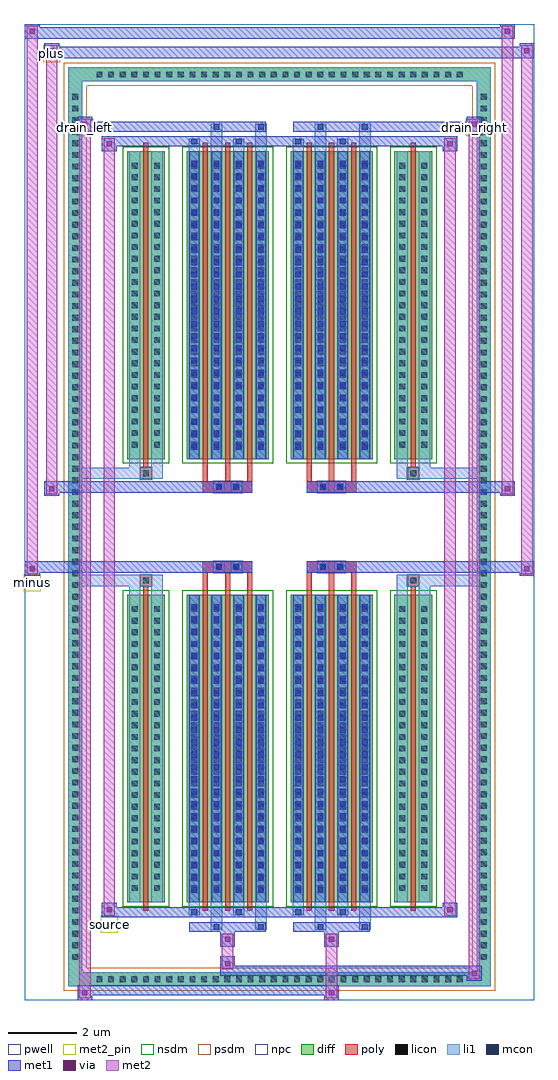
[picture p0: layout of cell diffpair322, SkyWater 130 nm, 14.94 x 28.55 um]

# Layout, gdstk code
import gdstk
lib = gdstk.Library(unit=1e-6, precision=5e-09)
def R(c, l, rs):  # rectangles x0, y0, x1, y1
    for r in rs: c.add(gdstk.rectangle(r[:2], r[2:], *l))
def A(c, l, x, y, w, h, nx, ny, dx, dy):  # array of equal rectangles
    R(c, l, [(x+i*dx, y+j*dy, x+i*dx+w, y+j*dy+h) for i in range(nx) for j in range(ny)])
def P(c, l, *ps):  # polygons
    for p in ps: c.add(gdstk.Polygon(p, *l))
pwell = (64, 44)
diff = (65, 20)
poly = (66, 20)
licon = (66, 44)
li1 = (67, 20)
mcon = (67, 44)
met1 = (68, 20)
via = (68, 44)
met2_pin = (69, 16)
met2 = (69, 20)
nsdm = (93, 44)
psdm = (94, 20)
npc = (95, 20)

diffpair322 = lib.new_cell('diffpair322')
R(diffpair322, pwell, [(-7.45,-13.84,7.45,14.71), (-4.77,-12.03,-0.01,-0.805), (0.01,-12.03,4.77,-0.805), (-4.77,0.805,-0.01,12.03), (0.01,0.805,4.77,12.03)])
A(diffpair322, diff, -5.475, -13.44, 0.41, 0.41, 32, 2, 0.34, 26.47)
A(diffpair322, diff, -6.18, -12.785, 0.41, 0.41, 1, 75, 0, 0.34)
A(diffpair322, diff, 5.77, -12.785, 0.41, 0.41, 1, 75, 0, 0.34)
R(diffpair322, diff, [(-5.475,-13.44,5.475,-13.03), (-6.18,-12.785,-5.77,12.785), (5.77,-12.785,6.18,12.785), (-4.46,-10.985,-3.36,-1.985), (-2.72,-10.985,-0.32,-1.985), (0.32,-10.985,2.72,-1.985), (3.36,-10.985,4.46,-1.985), (-4.46,1.985,-3.36,10.985), (-2.72,1.985,-0.32,10.985), (0.32,1.985,2.72,10.985), (3.36,1.985,4.46,10.985), (-5.475,13.03,5.475,13.44)])
P(diffpair322, diff, [(6.18,13.44),(-6.18,13.44),(-6.18,-13.03),(-5.77,-13.03),(-5.77,13.03),(5.77,13.03),(5.77,-13.03),(-5.77,-13.03),(-6.18,-13.03),(-6.18,-13.44),(6.18,-13.44)])
A(diffpair322, poly, -2.245, -11.235, 0.15, 9.5, 3, 2, 0.65, 12.97)
A(diffpair322, poly, 0.795, -11.235, 0.15, 9.5, 3, 2, 0.65, 12.97)
A(diffpair322, poly, -2.245, -1.735, 0.15, 0.4, 3, 2, 0.65, 3.07)
A(diffpair322, poly, 0.795, -1.735, 0.15, 0.4, 3, 2, 0.65, 3.07)
R(diffpair322, poly, [(-3.985,-11.235,-3.835,-1.735), (3.835,-11.235,3.985,-1.735), (-4.075,-1.735,-3.745,-1.405), (-4.075,-1.735,-3.745,-1.405), (3.745,-1.735,4.075,-1.405), (3.745,-1.735,4.075,-1.405), (-2.245,-1.335,-0.795,-1.005), (-1.935,-1.335,-1.605,-1.005), (-1.435,-1.335,-1.105,-1.005), (0.795,-1.335,2.245,-1.005), (1.105,-1.335,1.435,-1.005), (1.605,-1.335,1.935,-1.005), (-2.245,1.005,-0.795,1.335), (-1.935,1.005,-1.605,1.335), (-1.435,1.005,-1.105,1.335), (0.795,1.005,2.245,1.335), (1.105,1.005,1.435,1.335), (1.605,1.005,1.935,1.335), (-4.075,1.405,-3.745,1.735), (-4.075,1.405,-3.745,1.735), (3.745,1.405,4.075,1.735), (3.745,1.405,4.075,1.735), (-3.985,1.735,-3.835,11.235), (3.835,1.735,3.985,11.235)])
A(diffpair322, licon, -5.355, -13.32, 0.17, 0.17, 32, 2, 0.34, 26.47)
A(diffpair322, licon, -6.06, -12.665, 0.17, 0.17, 1, 75, 0, 0.34)
A(diffpair322, licon, 5.89, -12.665, 0.17, 0.17, 1, 75, 0, 0.34)
A(diffpair322, licon, -4.32, -10.65, 0.17, 0.17, 1, 25, 0, 0.34)
A(diffpair322, licon, -3.67, -10.65, 0.17, 0.17, 1, 25, 0, 0.34)
A(diffpair322, licon, -2.58, -10.65, 0.17, 0.17, 4, 25, 0.65, 0.34)
A(diffpair322, licon, 0.46, -10.65, 0.17, 0.17, 4, 25, 0.65, 0.34)
A(diffpair322, licon, 3.5, -10.65, 0.17, 0.17, 1, 25, 0, 0.34)
A(diffpair322, licon, 4.15, -10.65, 0.17, 0.17, 1, 25, 0, 0.34)
A(diffpair322, licon, -4.32, 2.32, 0.17, 0.17, 1, 25, 0, 0.34)
A(diffpair322, licon, -3.67, 2.32, 0.17, 0.17, 1, 25, 0, 0.34)
A(diffpair322, licon, -2.58, 2.32, 0.17, 0.17, 4, 25, 0.65, 0.34)
A(diffpair322, licon, 0.46, 2.32, 0.17, 0.17, 4, 25, 0.65, 0.34)
A(diffpair322, licon, 3.5, 2.32, 0.17, 0.17, 1, 25, 0, 0.34)
A(diffpair322, licon, 4.15, 2.32, 0.17, 0.17, 1, 25, 0, 0.34)
R(diffpair322, licon, [(-3.995,-1.655,-3.825,-1.485), (3.825,-1.655,3.995,-1.485), (-1.855,-1.255,-1.685,-1.085), (-1.355,-1.255,-1.185,-1.085), (1.185,-1.255,1.355,-1.085), (1.685,-1.255,1.855,-1.085), (-1.855,1.085,-1.685,1.255), (-1.355,1.085,-1.185,1.255), (1.185,1.085,1.355,1.255), (1.685,1.085,1.855,1.255), (-3.995,1.485,-3.825,1.655), (3.825,1.485,3.995,1.655)])
A(diffpair322, li1, -5.435, -13.4, 0.33, 0.33, 32, 2, 0.34, 26.47)
A(diffpair322, li1, -6.14, -12.745, 0.33, 0.33, 1, 75, 0, 0.34)
A(diffpair322, li1, 5.81, -12.745, 0.33, 0.33, 1, 75, 0, 0.34)
A(diffpair322, li1, -2.66, -10.985, 0.33, 9, 4, 2, 0.65, 12.97)
A(diffpair322, li1, 0.38, -10.985, 0.33, 9, 4, 2, 0.65, 12.97)
A(diffpair322, li1, -4.4, -10.73, 0.33, 0.33, 1, 25, 0, 0.34)
A(diffpair322, li1, -3.75, -10.73, 0.33, 0.33, 1, 25, 0, 0.34)
A(diffpair322, li1, -2.66, -10.73, 0.33, 0.33, 4, 25, 0.65, 0.34)
A(diffpair322, li1, 0.38, -10.73, 0.33, 0.33, 4, 25, 0.65, 0.34)
A(diffpair322, li1, 3.42, -10.73, 0.33, 0.33, 1, 25, 0, 0.34)
A(diffpair322, li1, 4.07, -10.73, 0.33, 0.33, 1, 25, 0, 0.34)
A(diffpair322, li1, -2.58, -10.71, 0.17, 0.17, 4, 24, 0.65, 0.36)
A(diffpair322, li1, -2.58, -10.71, 0.17, 8.45, 4, 2, 0.65, 12.97)
A(diffpair322, li1, 0.46, -10.71, 0.17, 0.17, 4, 24, 0.65, 0.36)
A(diffpair322, li1, 0.46, -10.71, 0.17, 8.45, 4, 2, 0.65, 12.97)
A(diffpair322, li1, -4.4, 2.24, 0.33, 0.33, 1, 25, 0, 0.34)
A(diffpair322, li1, -3.75, 2.24, 0.33, 0.33, 1, 25, 0, 0.34)
A(diffpair322, li1, -2.66, 2.24, 0.33, 0.33, 4, 25, 0.65, 0.34)
A(diffpair322, li1, 0.38, 2.24, 0.33, 0.33, 4, 25, 0.65, 0.34)
A(diffpair322, li1, 3.42, 2.24, 0.33, 0.33, 1, 25, 0, 0.34)
A(diffpair322, li1, 4.07, 2.24, 0.33, 0.33, 1, 25, 0, 0.34)
A(diffpair322, li1, -2.58, 2.26, 0.17, 0.17, 4, 24, 0.65, 0.36)
A(diffpair322, li1, 0.46, 2.26, 0.17, 0.17, 4, 24, 0.65, 0.36)
R(diffpair322, li1, [(-6.18,-13.44,-5.77,-13.03), (-6.18,-13.44,-5.77,-13.03), (-5.77,-13.44,5.77,-13.03), (5.77,-13.44,6.18,-13.03), (5.77,-13.44,6.18,-13.03), (-6.18,-13.03,-5.77,13.03), (5.77,-13.03,6.18,13.03), (-2.01,-11.79,-1.68,-10.985), (-1.93,-11.79,-1.76,-11.62), (-0.71,-11.79,-0.38,-10.985), (-0.63,-11.79,-0.46,-11.62), (1.03,-11.79,1.36,-10.985), (1.11,-11.79,1.28,-11.62), (2.33,-11.79,2.66,-10.985), (2.41,-11.79,2.58,-11.62), (-2.66,-11.36,-2.33,-10.985), (-2.58,-11.36,-2.41,-11.19), (-1.36,-11.36,-1.03,-10.985), (-1.28,-11.36,-1.11,-11.19), (0.38,-11.36,0.71,-10.985), (0.46,-11.36,0.63,-11.19), (1.68,-11.36,2.01,-10.985), (1.76,-11.36,1.93,-11.19), (-4.4,-10.985,-4.07,-1.985), (-3.75,-10.985,-3.42,-1.985), (3.42,-10.985,3.75,-1.985), (4.07,-10.985,4.4,-1.985), (-4.4,-1.985,-4.07,-1.405), (-3.75,-1.985,-3.42,-1.405), (3.42,-1.985,3.75,-1.405), (4.07,-1.985,4.4,-1.405), (-6.18,-1.735,-4.075,-1.405), (-4.4,-1.735,-4.075,-1.405), (-4.075,-1.735,-3.745,-1.405), (-3.745,-1.735,-3.42,-1.405), (3.42,-1.735,3.745,-1.405), (3.745,-1.735,4.075,-1.405), (3.745,-1.735,6.18,-1.405), (4.075,-1.735,4.4,-1.405), (-1.935,-1.335,-1.605,-1.005), (-1.435,-1.335,-1.105,-1.005), (1.105,-1.335,1.435,-1.005), (1.605,-1.335,1.935,-1.005), (-1.935,1.005,-1.605,1.335), (-1.435,1.005,-1.105,1.335), (1.105,1.005,1.435,1.335), (1.605,1.005,1.935,1.335), (-6.18,1.405,-4.075,1.735), (-4.4,1.405,-4.075,1.735), (-4.4,1.405,-4.07,1.985), (-4.075,1.405,-3.745,1.735), (-3.75,1.405,-3.42,1.985), (-3.745,1.405,-3.42,1.735), (3.42,1.405,3.745,1.735), (3.42,1.405,3.75,1.985), (3.745,1.405,4.075,1.735), (3.745,1.405,6.18,1.735), (4.07,1.405,4.4,1.985), (4.075,1.405,4.4,1.735), (-4.4,1.985,-4.07,10.985), (-3.75,1.985,-3.42,10.985), (3.42,1.985,3.75,10.985), (4.07,1.985,4.4,10.985), (-2.66,10.985,-2.33,11.36), (-2.01,10.985,-1.68,11.79), (-1.36,10.985,-1.03,11.36), (-0.71,10.985,-0.38,11.79), (0.38,10.985,0.71,11.36), (1.03,10.985,1.36,11.79), (1.68,10.985,2.01,11.36), (2.33,10.985,2.66,11.79), (-2.58,11.19,-2.41,11.36), (-1.28,11.19,-1.11,11.36), (0.46,11.19,0.63,11.36), (1.76,11.19,1.93,11.36), (-1.93,11.62,-1.76,11.79), (-0.63,11.62,-0.46,11.79), (1.11,11.62,1.28,11.79), (2.41,11.62,2.58,11.79), (-6.18,13.03,-5.77,13.44), (-6.18,13.03,-5.77,13.44), (-5.77,13.03,5.77,13.44), (5.77,13.03,6.18,13.44), (5.77,13.03,6.18,13.44)])
A(diffpair322, mcon, -2.58, -10.71, 0.17, 0.17, 4, 24, 0.65, 0.36)
A(diffpair322, mcon, 0.46, -10.71, 0.17, 0.17, 4, 24, 0.65, 0.36)
A(diffpair322, mcon, -2.58, 2.26, 0.17, 0.17, 4, 24, 0.65, 0.36)
A(diffpair322, mcon, 0.46, 2.26, 0.17, 0.17, 4, 24, 0.65, 0.36)
R(diffpair322, mcon, [(-1.93,-11.79,-1.76,-11.62), (-0.63,-11.79,-0.46,-11.62), (1.11,-11.79,1.28,-11.62), (2.41,-11.79,2.58,-11.62), (-2.58,-11.36,-2.41,-11.19), (-1.28,-11.36,-1.11,-11.19), (0.46,-11.36,0.63,-11.19), (1.76,-11.36,1.93,-11.19), (-1.855,-1.255,-1.685,-1.085), (-1.355,-1.255,-1.185,-1.085), (1.185,-1.255,1.355,-1.085), (1.685,-1.255,1.855,-1.085), (-1.855,1.085,-1.685,1.255), (-1.355,1.085,-1.185,1.255), (1.185,1.085,1.355,1.255), (1.685,1.085,1.855,1.255), (-2.58,11.19,-2.41,11.36), (-1.28,11.19,-1.11,11.36), (0.46,11.19,0.63,11.36), (1.76,11.19,1.93,11.36), (-1.93,11.62,-1.76,11.79), (-0.63,11.62,-0.46,11.79), (1.11,11.62,1.28,11.79), (2.41,11.62,2.58,11.79)])
A(diffpair322, met1, -2.64, -10.985, 0.29, 9, 4, 2, 0.65, 12.97)
A(diffpair322, met1, 0.4, -10.985, 0.29, 9, 4, 2, 0.65, 12.97)
A(diffpair322, met1, -2.64, -10.77, 0.29, 0.29, 4, 24, 0.65, 0.36)
A(diffpair322, met1, 0.4, -10.77, 0.29, 0.29, 4, 24, 0.65, 0.36)
A(diffpair322, met1, -2.64, 2.2, 0.29, 0.29, 4, 24, 0.65, 0.36)
A(diffpair322, met1, 0.4, 2.2, 0.29, 0.29, 4, 24, 0.65, 0.36)
R(diffpair322, met1, [(-5.91,-13.84,-5.48,-13.41), (1.305,-13.84,1.735,-13.41), (-5.91,-13.7,1.735,-13.41), (5.48,-13.27,5.91,-12.84), (-1.735,-13.13,5.91,-12.84), (-1.735,-12.99,-1.305,-12.56), (-1.735,-12.28,-1.305,-11.85), (1.305,-12.28,1.735,-11.85), (-2.64,-11.85,-0.4,-11.56), (-1.99,-11.85,-1.7,-11.56), (-0.69,-11.85,-0.4,-11.56), (0.4,-11.85,2.64,-11.56), (1.05,-11.85,1.34,-11.56), (2.35,-11.85,2.64,-11.56), (-5.2,-11.42,-4.77,-10.99), (-5.2,-11.42,-2.64,-11.13), (-2.64,-11.42,-2.35,-11.13), (-2.64,-11.42,-0.4,-11.13), (-1.34,-11.42,-1.05,-11.13), (-0.4,-11.42,0.4,-11.13), (0.4,-11.42,0.69,-11.13), (0.4,-11.42,2.64,-11.13), (1.7,-11.42,1.99,-11.13), (2.64,-11.42,5.2,-11.13), (4.77,-11.42,5.2,-10.99), (-7.45,-1.435,-7.02,-1.005), (7.02,-1.435,7.45,-1.005), (-7.45,-1.335,-0.795,-1.005), (-2.245,-1.335,-0.795,-1.005), (0.795,-1.335,2.245,-1.005), (0.795,-1.335,7.45,-1.005), (-1.915,-1.315,-1.625,-1.025), (-1.415,-1.315,-1.125,-1.025), (1.125,-1.315,1.415,-1.025), (1.625,-1.315,1.915,-1.025), (-6.88,0.905,-6.45,1.335), (6.45,0.905,6.88,1.335), (-6.88,1.005,-2.245,1.335), (-2.245,1.005,-0.795,1.335), (0.795,1.005,2.245,1.335), (2.245,1.005,6.88,1.335), (-1.915,1.025,-1.625,1.315), (-1.415,1.025,-1.125,1.315), (1.125,1.025,1.415,1.315), (1.625,1.025,1.915,1.315), (-5.2,10.99,-4.77,11.42), (4.77,10.99,5.2,11.42), (-5.2,11.13,-2.64,11.42), (-2.64,11.13,-2.35,11.42), (-2.64,11.13,-0.4,11.42), (-1.34,11.13,-1.05,11.42), (-0.4,11.13,0.4,11.42), (0.4,11.13,0.69,11.42), (0.4,11.13,2.64,11.42), (1.7,11.13,1.99,11.42), (2.64,11.13,5.2,11.42), (-5.91,11.56,-5.48,11.99), (-5.91,11.56,-2.64,11.85), (-2.64,11.56,-0.4,11.85), (-1.99,11.56,-1.7,11.85), (-0.69,11.56,-0.4,11.85), (0.4,11.56,2.64,11.85), (1.05,11.56,1.34,11.85), (2.35,11.56,2.64,11.85), (2.64,11.56,5.91,11.85), (5.48,11.56,5.91,11.99), (-6.88,13.71,-6.45,14.14), (-6.88,13.71,-4.77,14.04), (-4.77,13.71,4.77,14.04), (4.77,13.71,7.45,14.04), (7.02,13.71,7.45,14.14), (-7.45,14.28,-7.02,14.71), (-7.45,14.28,-4.77,14.61), (-4.77,14.28,4.77,14.61), (4.77,14.28,6.88,14.61), (6.45,14.28,6.88,14.71)])
R(diffpair322, via, [(-5.77,-13.7,-5.62,-13.55), (1.445,-13.7,1.595,-13.55), (5.62,-13.13,5.77,-12.98), (-1.595,-12.85,-1.445,-12.7), (-1.595,-12.14,-1.445,-11.99), (1.445,-12.14,1.595,-11.99), (-5.06,-11.28,-4.91,-11.13), (4.91,-11.28,5.06,-11.13), (-7.31,-1.295,-7.16,-1.145), (7.16,-1.295,7.31,-1.145), (-6.74,1.045,-6.59,1.195), (6.59,1.045,6.74,1.195), (-5.06,11.13,-4.91,11.28), (4.91,11.13,5.06,11.28), (-5.77,11.7,-5.62,11.85), (5.62,11.7,5.77,11.85), (-6.74,13.85,-6.59,14), (7.16,13.85,7.31,14), (-7.31,14.42,-7.16,14.57), (6.59,14.42,6.74,14.57)])
R(diffpair322, met2_pin, [(-5.235,-11.87,-4.735,-11.37), (-7.485,-1.885,-6.985,-1.385), (-5.945,11.44,-5.445,11.94), (5.445,11.44,5.945,11.94), (-6.915,13.59,-6.415,14.09)])
R(diffpair322, met2, [(-5.86,-13.79,-5.53,-13.46), (-5.86,-13.79,-5.53,11.94), (1.355,-13.79,1.685,-13.46), (1.355,-13.46,1.685,-12.23), (5.53,-13.22,5.86,-12.89), (5.53,-13.22,5.86,11.94), (-1.685,-12.94,-1.355,-12.61), (-1.685,-12.61,-1.355,-12.23), (-1.685,-12.23,-1.355,-11.9), (1.355,-12.23,1.685,-11.9), (-5.15,-11.37,-4.82,-11.04), (-5.15,-11.37,-4.82,11.37), (4.82,-11.37,5.15,-11.04), (4.82,-11.37,5.15,11.37), (-7.4,-1.385,-7.07,-1.055), (-7.4,-1.385,-7.07,14.66), (7.07,-1.385,7.4,-1.055), (7.07,-1.385,7.4,14.09), (-6.83,0.955,-6.5,1.285), (-6.83,0.955,-6.5,14.09), (6.5,0.955,6.83,1.285), (6.5,0.955,6.83,14.66), (-5.15,11.04,-4.82,11.37), (4.82,11.04,5.15,11.37), (-5.86,11.61,-5.53,11.94), (5.53,11.61,5.86,11.94), (-6.83,13.76,-6.5,14.09), (7.07,13.76,7.4,14.09), (-7.4,14.33,-7.07,14.66), (6.5,14.33,6.83,14.66)])
P(diffpair322, met2, [(7.4,-1.385),(7.4,-1.385),(7.4,-1.055),(7.4,-1.055)],
  [(7.4,13.76),(7.4,13.76),(7.4,14.09),(7.4,14.09)],
  [(-7.07,-1.385),(-7.07,-1.385),(-7.07,-1.055),(-7.07,-1.055)],
  [(-7.07,14.33),(-7.07,14.33),(-7.07,14.66),(-7.07,14.66)],
  [(6.83,0.955),(6.83,0.955),(6.83,1.285),(6.83,1.285)],
  [(6.83,14.33),(6.83,14.33),(6.83,14.66),(6.83,14.66)],
  [(-6.5,0.955),(-6.5,0.955),(-6.5,1.285),(-6.5,1.285)],
  [(-6.5,13.76),(-6.5,13.76),(-6.5,14.09),(-6.5,14.09)],
  [(-5.53,-13.79),(-5.53,-13.79),(-5.53,-13.46),(-5.53,-13.46)],
  [(-5.53,11.61),(-5.53,11.61),(-5.53,11.94),(-5.53,11.94)],
  [(5.86,-13.22),(5.86,-13.22),(5.86,-12.89),(5.86,-12.89)],
  [(5.86,11.61),(5.86,11.61),(5.86,11.94),(5.86,11.94)],
  [(-4.82,-11.37),(-4.82,-11.37),(-4.82,-11.04),(-4.82,-11.04)],
  [(-4.82,11.04),(-4.82,11.04),(-4.82,11.37),(-4.82,11.37)],
  [(5.15,-11.37),(5.15,-11.37),(5.15,-11.04),(5.15,-11.04)],
  [(5.15,11.04),(5.15,11.04),(5.15,11.37),(5.15,11.37)])
R(diffpair322, nsdm, [(-4.59,-11.115,-3.23,-1.855), (-2.85,-11.115,-0.19,-1.855), (0.19,-11.115,2.85,-1.855), (3.23,-11.115,4.59,-1.855), (-4.59,1.855,-3.23,11.115), (-2.85,1.855,-0.19,11.115), (0.19,1.855,2.85,11.115), (3.23,1.855,4.59,11.115)])
P(diffpair322, psdm, [(6.31,13.57),(-6.31,13.57),(-6.31,-12.9),(-5.64,-12.9),(-5.64,12.9),(5.64,12.9),(5.64,-12.9),(-5.64,-12.9),(-6.31,-12.9),(-6.31,-13.57),(6.31,-13.57)])
R(diffpair322, npc, [(-4.095,-1.755,-3.725,-1.385), (3.725,-1.755,4.095,-1.385), (-1.955,-1.355,-1.585,-0.985), (-1.955,-1.355,-1.085,-0.985), (-1.955,-1.355,-1.085,-0.985), (-1.455,-1.355,-1.085,-0.985), (1.085,-1.355,1.455,-0.985), (1.085,-1.355,1.955,-0.985), (1.085,-1.355,1.955,-0.985), (1.585,-1.355,1.955,-0.985), (-1.955,0.985,-1.585,1.355), (-1.955,0.985,-1.085,1.355), (-1.955,0.985,-1.085,1.355), (-1.455,0.985,-1.085,1.355), (1.085,0.985,1.455,1.355), (1.085,0.985,1.955,1.355), (1.085,0.985,1.955,1.355), (1.585,0.985,1.955,1.355), (-4.095,1.385,-3.725,1.755), (3.725,1.385,4.095,1.755)])
diffpair322.add(gdstk.Label('minus', (-7.235,-1.635), layer=69, texttype=5))
diffpair322.add(gdstk.Label('drain_right', (5.695,11.69), layer=69, texttype=5))
diffpair322.add(gdstk.Label('drain_left', (-5.695,11.69), layer=69, texttype=5))
diffpair322.add(gdstk.Label('source', (-4.985,-11.62), layer=69, texttype=5))
diffpair322.add(gdstk.Label('plus', (-6.665,13.84), layer=69, texttype=5))

lib.write_gds('diffpair322.gds')
